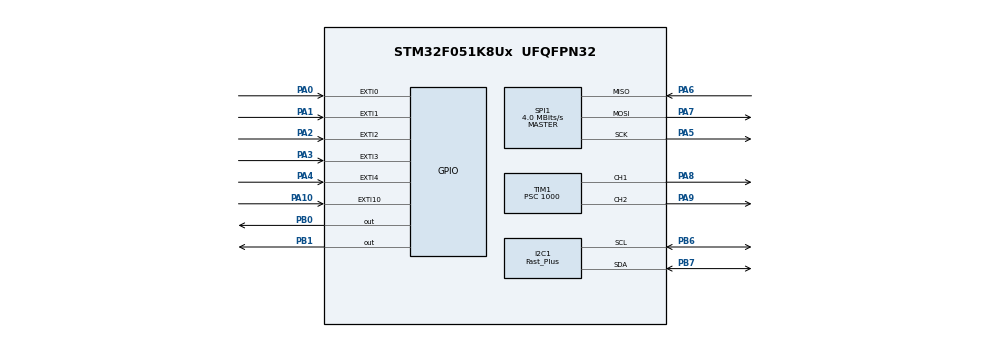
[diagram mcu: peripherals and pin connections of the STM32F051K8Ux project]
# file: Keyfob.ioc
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FREERTOS.HEAP_NUMBER=1
FREERTOS.INCLUDE_vTaskDelayUntil=1
FREERTOS.Tasks01=RADIO,0,256,Radio_Task,As weak,NULL,Dynamic,NULL,NULL;UI,0,256,UI_Task,As weak,NULL,Dynamic,NULL,NULL
FREERTOS.configCHECK_FOR_STACK_OVERFLOW=0
FREERTOS.configENABLE_BACKWARD_COMPATIBILITY=0
FREERTOS.configGENERATE_RUN_TIME_STATS=0
FREERTOS.configIDLE_SHOULD_YIELD=0
FREERTOS.configMAX_PRIORITIES=4
FREERTOS.configTOTAL_HEAP_SIZE=5500
FREERTOS.configUSE_IDLE_HOOK=1
FREERTOS.configUSE_MALLOC_FAILED_HOOK=0
FREERTOS.configUSE_MUTEXES=0
FREERTOS.configUSE_STATS_FORMATTING_FUNCTIONS=1
FREERTOS.configUSE_TRACE_FACILITY=1
I2C1.I2C_Speed_Mode=I2C_Fast_Plus
I2C1.OwnAddress=0x3c
I2C1.Speed=800
I2C1.Timing=0x00000102
IWDG.Prescaler=IWDG_PRESCALER_16
IWDG.Window=2500
Mcu.Family=STM32F0
Mcu.Name=STM32F051K8Ux
Mcu.Package=UFQFPN32
NVIC.EXTI0_1_IRQn=true\:3\:0\:false\:true\:true\:3\:true\:true
NVIC.EXTI2_3_IRQn=true\:3\:0\:false\:true\:true\:4\:true\:true
NVIC.EXTI4_15_IRQn=true\:3\:0\:true\:true\:true\:1\:true\:true
NVIC.SPI1_IRQn=true\:3\:0\:false\:true\:false\:2\:true\:true
NVIC.TIM14_IRQn=true\:0\:0\:false\:false\:true\:false\:false
NVIC.TimeBase=TIM14_IRQn
NVIC.TimeBaseIP=TIM14
PA0.GPIO_ModeDefaultEXTI=GPIO_MODE_IT_FALLING
PA0.GPIO_PuPd=GPIO_PULLUP
PA0.Signal=GPXTI0
PA1.GPIO_ModeDefaultEXTI=GPIO_MODE_IT_FALLING
PA1.GPIO_PuPd=GPIO_PULLUP
PA1.Signal=GPXTI1
PA10.GPIO_ModeDefaultEXTI=GPIO_MODE_IT_FALLING
PA10.GPIO_PuPd=GPIO_PULLUP
PA10.Signal=GPXTI10
PA13.Mode=Serial_Wire
PA13.Signal=SYS_SWDIO
PA14.Mode=Serial_Wire
PA14.Signal=SYS_SWCLK
PA2.GPIO_ModeDefaultEXTI=GPIO_MODE_IT_FALLING
PA2.GPIO_PuPd=GPIO_PULLUP
PA2.Signal=GPXTI2
PA3.GPIO_ModeDefaultEXTI=GPIO_MODE_IT_FALLING
PA3.GPIO_PuPd=GPIO_PULLUP
PA3.Signal=GPXTI3
PA4.GPIO_ModeDefaultEXTI=GPIO_MODE_IT_FALLING
PA4.Signal=GPXTI4
PA5.Mode=Full_Duplex_Master
PA5.Signal=SPI1_SCK
PA6.Mode=Full_Duplex_Master
PA6.Signal=SPI1_MISO
PA7.Mode=Full_Duplex_Master
PA7.Signal=SPI1_MOSI
PA8.Signal=S_TIM1_CH1
PA9.Signal=S_TIM1_CH2
PB0.Signal=GPIO_Output
PB1.GPIO_ModeDefaultOutputPP=GPIO_MODE_OUTPUT_PP
PB1.GPIO_PuPd=GPIO_NOPULL
PB1.GPIO_Speed=GPIO_SPEED_FREQ_LOW
PB1.PinState=GPIO_PIN_RESET
PB1.Signal=GPIO_Output
PB6.GPIO_Speed=GPIO_SPEED_FREQ_LOW
PB6.Mode=I2C
PB6.Signal=I2C1_SCL
PB7.GPIO_Speed=GPIO_SPEED_FREQ_LOW
PB7.Mode=I2C
PB7.Signal=I2C1_SDA
ProjectManager.HeapSize=0x200
ProjectManager.StackSize=0x400
ProjectManager.TargetToolchain=EWARM
RCC.AHBFreq_Value=8000000
RCC.APB1Freq_Value=8000000
RCC.APB1TimFreq_Value=8000000
RCC.HCLKFreq_Value=8000000
RCC.I2c1ClockSelection=RCC_I2C1CLKSOURCE_SYSCLK
RCC.SYSCLKFreq_VALUE=8000000
RTC.Alarm=RTC_ALARM_A
SH.S_TIM1_CH1.0=TIM1_CH1,Output Compare1 CH1
SH.S_TIM1_CH2.0=TIM1_CH2,Output Compare2 CH2
SPI1.BaudRatePrescaler=SPI_BAUDRATEPRESCALER_2
SPI1.CLKPolarity=SPI_POLARITY_LOW
SPI1.CalculateBaudRate=4.0 MBits/s
SPI1.DataSize=SPI_DATASIZE_8BIT
SPI1.Direction=SPI_DIRECTION_2LINES
SPI1.Mode=SPI_MODE_MASTER
SPI1.NSSPMode=SPI_NSS_PULSE_DISABLE
SPI1.VirtualType=VM_MASTER
TIM1.Channel-Output\ Compare1\ CH1=TIM_CHANNEL_1
TIM1.Channel-Output\ Compare2\ CH2=TIM_CHANNEL_2
TIM1.OCIdleState_2=TIM_OCIDLESTATE_SET
TIM1.OCMode_1=TIM_OCMODE_ACTIVE
TIM1.OCMode_2=TIM_OCMODE_ACTIVE
TIM1.OCPolarity_2=TIM_OCPOLARITY_LOW
TIM1.Prescaler=1000
TIM1.Pulse-Output\ Compare1\ CH1=24
TIM1.Pulse-Output\ Compare2\ CH2=24
TIM1.RepetitionCounter=48
VP_ADC_Vbat_Input.Mode=IN-Vbat
VP_FREERTOS_VS_ENABLE.Mode=Enabled
VP_IWDG_VS_IWDG.Mode=IWDG_Activate
VP_RTC_VS_RTC_Activate.Mode=RTC_Enabled
VP_RTC_VS_RTC_Alarm_A_Intern.Mode=Alarm A
VP_RTC_VS_RTC_Calendar.Mode=RTC_Calendar
VP_SYS_VS_tim14.Mode=TIM14
VP_TIM1_VS_ClockSourceINT.Mode=Internal
board=Keyfob

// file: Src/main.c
/**
  ******************************************************************************
  * File Name          : main.c
  * Description        : Main program body
  ******************************************************************************
  * This notice applies to any and all portions of this file
  * that are not between comment pairs USER CODE BEGIN and
  * USER CODE END. Other portions of this file, whether
  * inserted by the user or by software development tools
  * are owned by their respective copyright owners.
  *
  * Copyright (c) 2017 STMicroelectronics International N.V.
  * All rights reserved.
  *
  * Redistribution and use in source and binary forms, with or without
  * modification, are permitted, provided that the following conditions are met:
  *
  * 1. Redistribution of source code must retain the above copyright notice,
  *    this list of conditions and the following disclaimer.
  * 2. Redistributions in binary form must reproduce the above copyright notice,
  *    this list of conditions and the following disclaimer in the documentation
  *    and/or other materials provided with the distribution.
  * 3. Neither the name of STMicroelectronics nor the names of other
  *    contributors to this software may be used to endorse or promote products
  *    derived from this software without specific written permission.
  * 4. This software, including modifications and/or derivative works of this
  *    software, must execute solely and exclusively on microcontroller or
  *    microprocessor devices manufactured by or for STMicroelectronics.
  * 5. Redistribution and use of this software other than as permitted under
  *    this license is void and will automatically terminate your rights under
  *    this license.
  *
  * THIS SOFTWARE IS PROVIDED BY STMICROELECTRONICS AND CONTRIBUTORS "AS IS"
  * AND ANY EXPRESS, IMPLIED OR STATUTORY WARRANTIES, INCLUDING, BUT NOT
  * LIMITED TO, THE IMPLIED WARRANTIES OF MERCHANTABILITY, FITNESS FOR A
  * PARTICULAR PURPOSE AND NON-INFRINGEMENT OF THIRD PARTY INTELLECTUAL PROPERTY
  * RIGHTS ARE DISCLAIMED TO THE FULLEST EXTENT PERMITTED BY LAW. IN NO EVENT
  * SHALL STMICROELECTRONICS OR CONTRIBUTORS BE LIABLE FOR ANY DIRECT, INDIRECT,
  * INCIDENTAL, SPECIAL, EXEMPLARY, OR CONSEQUENTIAL DAMAGES (INCLUDING, BUT NOT
  * LIMITED TO, PROCUREMENT OF SUBSTITUTE GOODS OR SERVICES; LOSS OF USE, DATA,
  * OR PROFITS; OR BUSINESS INTERRUPTION) HOWEVER CAUSED AND ON ANY THEORY OF
  * LIABILITY, WHETHER IN CONTRACT, STRICT LIABILITY, OR TORT (INCLUDING
  * NEGLIGENCE OR OTHERWISE) ARISING IN ANY WAY OUT OF THE USE OF THIS SOFTWARE,
  * EVEN IF ADVISED OF THE POSSIBILITY OF SUCH DAMAGE.
  *
  ******************************************************************************
  */

#include "main.h"
#include "stm32f0xx_hal.h"
#include "cmsis_os.h"

/* USER CODE BEGIN Includes */
#include "power.h"
#include "sound.h"
#include "protocol.h"
#include "radio.h"
#include "ui.h"
#include "dispatcher.h"

/* USER CODE END Includes */

osThreadId RADIOHandle;
osThreadId UIHandle;
osThreadId DISPHandle;
osThreadId SOUNDHandle;

/* USER CODE BEGIN PV */
/* Private variables ---------------------------------------------------------*/

/* USER CODE END PV */

void SystemClock_Config(void);
static void MX_GPIO_Init(void);
static void MX_I2C1_Init(void);
static void MX_SPI1_Init(void);
static void MX_TIM1_Init(void);
static void MX_ADC_Init(void);
static void MX_RTC_Init(void);
void Radio_Task(void const * argument);
void UI_Task(void const * argument);
static void MX_NVIC_Init(void);

/* USER CODE BEGIN PFP */
/* Private function prototypes -----------------------------------------------*/

/* USER CODE END PFP */

int main(void)
{

    /* USER CODE BEGIN 1 */
    /* Set up low power mode used. */
    MX_GPIO_Init();
    Power_Init();
    /* USER CODE END 1 */

    /* MCU Configuration----------------------------------------------------------*/

    /* Reset of all peripherals, Initializes the Flash interface and the Systick. */
    HAL_Init();

    /* Configure the system clock */
    SystemClock_Config();

    /* USER CODE BEGIN SysInit */

    PWR->CR |= PWR_CR_DBP;
    RCC->CSR |= RCC_CSR_LSION;

    /* USER CODE END SysInit */

    /* Initialize all configured peripherals */
//    MX_GPIO_Init();
    MX_I2C1_Init();
    MX_SPI1_Init();
    MX_TIM1_Init();
    MX_ADC_Init();
    MX_RTC_Init();

    /* Initialize interrupts */
    MX_NVIC_Init();

    /* USER CODE BEGIN 2 */
    Power_InitSettings(0, 0);
    Radio_Init();
    Sound_Init();
    Power_InitIWDG();
    /* USER CODE END 2 */

    /* Create the thread(s) */
    /* definition and creation of RADIO */
    osThreadDef(RADIO, Radio_Task, osPriorityRealtime, 0, 256);
    RADIOHandle = osThreadCreate(osThread(RADIO), NULL);

    /* definition and creation of UI */
    osThreadDef(UI, UI_Task, osPriorityBelowNormal, 0, 256);
    UIHandle = osThreadCreate(osThread(UI), NULL);

    /* definition and creation of DISPATCHER */
    osThreadDef(DISP, Dispatcher_Task, osPriorityLow, 0, 256);
    DISPHandle = osThreadCreate(osThread(DISP), NULL);

    /* definition and creation of SOUND */
    osThreadDef(SOUND, Sound_Task, osPriorityNormal, 0, 128);
    SOUNDHandle = osThreadCreate(osThread(SOUND), NULL);

    /* USER CODE BEGIN RTOS_QUEUES */
    UI_Init();
    /* USER CODE END RTOS_QUEUES */

    /* Start scheduler */
    osKernelStart();

    /* We should never get here as control is now taken by the scheduler */

    /* Infinite loop */
    while (1)
    {

    /* USER CODE BEGIN 3 */
        vTaskDelay(1);
    }
    /* USER CODE END 3 */

}

/** System Clock Configuration
*/
void SystemClock_Config(void)
{

  LL_FLASH_SetLatency(LL_FLASH_LATENCY_0);

  if(LL_FLASH_GetLatency() != LL_FLASH_LATENCY_0)
  {
  Error_Handler();
  }
  LL_RCC_HSI_Enable();

   /* Wait till HSI is ready */
  while(LL_RCC_HSI_IsReady() != 1)
  {

  }
  LL_RCC_HSI_SetCalibTrimming(16);

  LL_RCC_HSI14_Enable();

   /* Wait till HSI14 is ready */
  while(LL_RCC_HSI14_IsReady() != 1)
  {

  }
  LL_RCC_HSI14_SetCalibTrimming(16);

  LL_RCC_LSI_Enable();

   /* Wait till LSI is ready */
  while(LL_RCC_LSI_IsReady() != 1)
  {

  }
  LL_PWR_EnableBkUpAccess();

  //LL_RCC_ForceBackupDomainReset();

  //LL_RCC_ReleaseBackupDomainReset();

  LL_RCC_SetRTCClockSource(LL_RCC_RTC_CLKSOURCE_LSI);

  LL_RCC_EnableRTC();

  LL_RCC_SetAHBPrescaler(LL_RCC_SYSCLK_DIV_1);

  LL_RCC_SetAPB1Prescaler(LL_RCC_APB1_DIV_1);

  LL_RCC_SetSysClkSource(LL_RCC_SYS_CLKSOURCE_HSI);

   /* Wait till System clock is ready */
  while(LL_RCC_GetSysClkSource() != LL_RCC_SYS_CLKSOURCE_STATUS_HSI)
  {

  }
  LL_Init1msTick(8000000);

  LL_SYSTICK_SetClkSource(LL_SYSTICK_CLKSOURCE_HCLK);

  LL_SetSystemCoreClock(8000000);

  LL_RCC_HSI14_EnableADCControl();

  LL_RCC_SetI2CClockSource(LL_RCC_I2C1_CLKSOURCE_SYSCLK);

  /* SysTick_IRQn interrupt configuration */
  NVIC_SetPriority(SysTick_IRQn, 3);
}

/** NVIC Configuration
*/
static void MX_NVIC_Init(void)
{
  /* SPI1_IRQn interrupt configuration */
  NVIC_SetPriority(SPI1_IRQn, 3);
  NVIC_EnableIRQ(SPI1_IRQn);
  /* EXTI4_15_IRQn interrupt configuration */
  NVIC_SetPriority(EXTI4_15_IRQn, 3);
  NVIC_EnableIRQ(EXTI4_15_IRQn);
  /* EXTI0_1_IRQn interrupt configuration */
  NVIC_SetPriority(EXTI0_1_IRQn, 3);
  NVIC_EnableIRQ(EXTI0_1_IRQn);
  /* EXTI2_3_IRQn interrupt configuration */
  NVIC_SetPriority(EXTI2_3_IRQn, 3);
  NVIC_EnableIRQ(EXTI2_3_IRQn);
}

/* ADC init function */
static void MX_ADC_Init(void)
{

  LL_ADC_InitTypeDef ADC_InitStruct;
  LL_ADC_REG_InitTypeDef ADC_REG_InitStruct;

  /* Peripheral clock enable */
  LL_APB1_GRP2_EnableClock(LL_APB1_GRP2_PERIPH_ADC1);

    /**Configure Regular Channel
    */
  LL_ADC_REG_SetSequencerChannels(ADC1, LL_ADC_CHANNEL_VBAT);

  LL_ADC_SetCommonPathInternalCh(__LL_ADC_COMMON_INSTANCE(ADC1), LL_ADC_PATH_INTERNAL_VBAT);

    /**Configure the global features of the ADC (Clock, Resolution, Data Alignment and number of conversion)
    */
  ADC_InitStruct.Resolution = LL_ADC_RESOLUTION_12B;
  ADC_InitStruct.DataAlignment = LL_ADC_DATA_ALIGN_RIGHT;
  ADC_InitStruct.LowPowerMode = LL_ADC_LP_MODE_NONE;
  LL_ADC_Init(ADC1, &ADC_InitStruct);

  LL_ADC_SetClock(ADC1, LL_ADC_CLOCK_ASYNC);

  ADC_REG_InitStruct.TriggerSource = LL_ADC_REG_TRIG_SOFTWARE;
  ADC_REG_InitStruct.SequencerDiscont = LL_ADC_REG_SEQ_DISCONT_DISABLE;
  ADC_REG_InitStruct.ContinuousMode = LL_ADC_REG_CONV_SINGLE;
  ADC_REG_InitStruct.DMATransfer = LL_ADC_REG_DMA_TRANSFER_LIMITED;
  ADC_REG_InitStruct.Overrun = LL_ADC_REG_OVR_DATA_PRESERVED;
  LL_ADC_REG_Init(ADC1, &ADC_REG_InitStruct);

  LL_ADC_REG_SetSequencerScanDirection(ADC1, LL_ADC_REG_SEQ_SCAN_DIR_FORWARD);

  LL_ADC_SetSamplingTimeCommonChannels(ADC1, LL_ADC_SAMPLINGTIME_1CYCLE_5);

  LL_ADC_EnableIT_EOC(ADC1);

  LL_ADC_DisableIT_EOS(ADC1);

}

/* I2C1 init function */
static void MX_I2C1_Init(void)
{

  LL_I2C_InitTypeDef I2C_InitStruct;

  LL_GPIO_InitTypeDef GPIO_InitStruct;

  /**I2C1 GPIO Configuration
  PB6   ------> I2C1_SCL
  PB7   ------> I2C1_SDA
  */
  GPIO_InitStruct.Pin = LL_GPIO_PIN_6;
  GPIO_InitStruct.Mode = LL_GPIO_MODE_ALTERNATE;
  GPIO_InitStruct.Speed = LL_GPIO_SPEED_FREQ_LOW;
  GPIO_InitStruct.OutputType = LL_GPIO_OUTPUT_OPENDRAIN;
  GPIO_InitStruct.Pull = LL_GPIO_PULL_UP;
  GPIO_InitStruct.Alternate = LL_GPIO_AF_1;
  LL_GPIO_Init(GPIOB, &GPIO_InitStruct);

  GPIO_InitStruct.Pin = LL_GPIO_PIN_7;
  GPIO_InitStruct.Mode = LL_GPIO_MODE_ALTERNATE;
  GPIO_InitStruct.Speed = LL_GPIO_SPEED_FREQ_LOW;
  GPIO_InitStruct.OutputType = LL_GPIO_OUTPUT_OPENDRAIN;
  GPIO_InitStruct.Pull = LL_GPIO_PULL_UP;
  GPIO_InitStruct.Alternate = LL_GPIO_AF_1;
  LL_GPIO_Init(GPIOB, &GPIO_InitStruct);

  /* Peripheral clock enable */
  LL_APB1_GRP1_EnableClock(LL_APB1_GRP1_PERIPH_I2C1);

    /**I2C Initialization
    */
  I2C_InitStruct.PeripheralMode = LL_I2C_MODE_I2C;
  I2C_InitStruct.Timing = 0x00000102;
  I2C_InitStruct.AnalogFilter = LL_I2C_ANALOGFILTER_ENABLE;
  I2C_InitStruct.DigitalFilter = 0;
  I2C_InitStruct.OwnAddress1 = 120;
  I2C_InitStruct.TypeAcknowledge = LL_I2C_ACK;
  I2C_InitStruct.OwnAddrSize = LL_I2C_OWNADDRESS1_7BIT;
  LL_I2C_Init(I2C1, &I2C_InitStruct);

  LL_I2C_EnableAutoEndMode(I2C1);

  LL_I2C_SetOwnAddress2(I2C1, 0, LL_I2C_OWNADDRESS2_NOMASK);

  LL_I2C_DisableOwnAddress2(I2C1);

  LL_I2C_DisableGeneralCall(I2C1);

  LL_I2C_EnableClockStretching(I2C1);

}

/* RTC init function */
static void MX_RTC_Init(void)
{

  LL_RTC_InitTypeDef RTC_InitStruct;
  LL_RTC_TimeTypeDef RTC_TimeStruct;
  LL_RTC_DateTypeDef RTC_DateStruct;

  /* Peripheral clock enable */
  LL_RCC_EnableRTC();
  LL_RCC_SetRTCClockSource(LL_RCC_RTC_CLKSOURCE_LSI);

    /**Initialize RTC and set the Time and Date
    */
  RTC_InitStruct.HourFormat = LL_RTC_HOURFORMAT_24HOUR;
  RTC_InitStruct.AsynchPrescaler = 127;
  RTC_InitStruct.SynchPrescaler = 255;
  LL_RTC_Init(RTC, &RTC_InitStruct);

  LL_RTC_SetAsynchPrescaler(RTC, 127);

  LL_RTC_SetSynchPrescaler(RTC, 255);

    /**Initialize RTC and set the Time and Date
    */

  if(LL_RTC_BAK_GetRegister(RTC, LL_RTC_BKP_DR0) != 0x32F2){
//  if(Power_IfPOR()){

  RTC_TimeStruct.Hours = 0;
  RTC_TimeStruct.Minutes = 0x12;
  RTC_TimeStruct.Seconds = 0x34;
  LL_RTC_TIME_Init(RTC, LL_RTC_FORMAT_BCD, &RTC_TimeStruct);

  RTC_DateStruct.WeekDay = LL_RTC_WEEKDAY_MONDAY;
  RTC_DateStruct.Month = LL_RTC_MONTH_JANUARY;
  RTC_DateStruct.Year = 0;
  LL_RTC_DATE_Init(RTC, LL_RTC_FORMAT_BCD, &RTC_DateStruct);

  LL_RTC_BAK_SetRegister(RTC,LL_RTC_BKP_DR0,0x32F2);
  }
}

/* SPI1 init function */
static void MX_SPI1_Init(void)
{

  LL_SPI_InitTypeDef SPI_InitStruct;

  LL_GPIO_InitTypeDef GPIO_InitStruct;

  /* Peripheral clock enable */
  LL_APB1_GRP2_EnableClock(LL_APB1_GRP2_PERIPH_SPI1);

  /**SPI1 GPIO Configuration
  PA5   ------> SPI1_SCK
  PA6   ------> SPI1_MISO
  PA7   ------> SPI1_MOSI
  */
  GPIO_InitStruct.Pin = LL_GPIO_PIN_5;
  GPIO_InitStruct.Mode = LL_GPIO_MODE_ALTERNATE;
  GPIO_InitStruct.Speed = LL_GPIO_SPEED_FREQ_HIGH;
  GPIO_InitStruct.OutputType = LL_GPIO_OUTPUT_PUSHPULL;
  GPIO_InitStruct.Pull = LL_GPIO_PULL_NO;
  GPIO_InitStruct.Alternate = LL_GPIO_AF_0;
  LL_GPIO_Init(GPIOA, &GPIO_InitStruct);

  GPIO_InitStruct.Pin = LL_GPIO_PIN_6;
  GPIO_InitStruct.Mode = LL_GPIO_MODE_ALTERNATE;
  GPIO_InitStruct.Speed = LL_GPIO_SPEED_FREQ_HIGH;
  GPIO_InitStruct.OutputType = LL_GPIO_OUTPUT_PUSHPULL;
  GPIO_InitStruct.Pull = LL_GPIO_PULL_NO;
  GPIO_InitStruct.Alternate = LL_GPIO_AF_0;
  LL_GPIO_Init(GPIOA, &GPIO_InitStruct);

  GPIO_InitStruct.Pin = LL_GPIO_PIN_7;
  GPIO_InitStruct.Mode = LL_GPIO_MODE_ALTERNATE;
  GPIO_InitStruct.Speed = LL_GPIO_SPEED_FREQ_HIGH;
  GPIO_InitStruct.OutputType = LL_GPIO_OUTPUT_PUSHPULL;
  GPIO_InitStruct.Pull = LL_GPIO_PULL_NO;
  GPIO_InitStruct.Alternate = LL_GPIO_AF_0;
  LL_GPIO_Init(GPIOA, &GPIO_InitStruct);

  /* SPI1 parameter configuration*/
  SPI_InitStruct.TransferDirection = LL_SPI_FULL_DUPLEX;
  SPI_InitStruct.Mode = LL_SPI_MODE_MASTER;
  SPI_InitStruct.DataWidth = LL_SPI_DATAWIDTH_8BIT;
  SPI_InitStruct.ClockPolarity = LL_SPI_POLARITY_LOW;
  SPI_InitStruct.ClockPhase = LL_SPI_PHASE_1EDGE;
  SPI_InitStruct.NSS = LL_SPI_NSS_SOFT;
  SPI_InitStruct.BaudRate = LL_SPI_BAUDRATEPRESCALER_DIV2;
  SPI_InitStruct.BitOrder = LL_SPI_MSB_FIRST;
  SPI_InitStruct.CRCCalculation = LL_SPI_CRCCALCULATION_DISABLE;
  SPI_InitStruct.CRCPoly = 7;
  LL_SPI_Init(SPI1, &SPI_InitStruct);

  LL_SPI_SetStandard(SPI1, LL_SPI_PROTOCOL_MOTOROLA);

  LL_SPI_DisableNSSPulseMgt(SPI1);

}

/* TIM1 init function */
static void MX_TIM1_Init(void)
{

  LL_TIM_InitTypeDef TIM_InitStruct;
  LL_TIM_OC_InitTypeDef TIM_OC_InitStruct;
  LL_TIM_BDTR_InitTypeDef TIM_BDTRInitStruct;

  LL_GPIO_InitTypeDef GPIO_InitStruct;

  /* Peripheral clock enable */
  LL_APB1_GRP2_EnableClock(LL_APB1_GRP2_PERIPH_TIM1);

  TIM_InitStruct.Prescaler = 1000;
  TIM_InitStruct.CounterMode = LL_TIM_COUNTERMODE_UP;
  TIM_InitStruct.Autoreload = 0;
  TIM_InitStruct.ClockDivision = LL_TIM_CLOCKDIVISION_DIV1;
  TIM_InitStruct.RepetitionCounter = 48;
  LL_TIM_Init(TIM1, &TIM_InitStruct);

  LL_TIM_DisableARRPreload(TIM1);

  LL_TIM_SetClockSource(TIM1, LL_TIM_CLOCKSOURCE_INTERNAL);

  TIM_OC_InitStruct.OCMode = LL_TIM_OCMODE_ACTIVE;
  TIM_OC_InitStruct.OCState = LL_TIM_OCSTATE_DISABLE;
  TIM_OC_InitStruct.OCNState = LL_TIM_OCSTATE_DISABLE;
  TIM_OC_InitStruct.CompareValue = 24;
  TIM_OC_InitStruct.OCPolarity = LL_TIM_OCPOLARITY_HIGH;
  TIM_OC_InitStruct.OCNPolarity = LL_TIM_OCPOLARITY_HIGH;
  TIM_OC_InitStruct.OCIdleState = LL_TIM_OCIDLESTATE_LOW;
  TIM_OC_InitStruct.OCNIdleState = LL_TIM_OCIDLESTATE_LOW;
  LL_TIM_OC_Init(TIM1, LL_TIM_CHANNEL_CH1, &TIM_OC_InitStruct);

  LL_TIM_OC_DisableFast(TIM1, LL_TIM_CHANNEL_CH1);

  TIM_OC_InitStruct.OCState = LL_TIM_OCSTATE_DISABLE;
  TIM_OC_InitStruct.OCNState = LL_TIM_OCSTATE_DISABLE;
  TIM_OC_InitStruct.OCPolarity = LL_TIM_OCPOLARITY_LOW;
  TIM_OC_InitStruct.OCIdleState = LL_TIM_OCIDLESTATE_HIGH;
  LL_TIM_OC_Init(TIM1, LL_TIM_CHANNEL_CH2, &TIM_OC_InitStruct);

  LL_TIM_OC_DisableFast(TIM1, LL_TIM_CHANNEL_CH2);

  LL_TIM_SetTriggerOutput(TIM1, LL_TIM_TRGO_RESET);

  LL_TIM_DisableMasterSlaveMode(TIM1);

  TIM_BDTRInitStruct.OSSRState = LL_TIM_OSSR_DISABLE;
  TIM_BDTRInitStruct.OSSIState = LL_TIM_OSSI_DISABLE;
  TIM_BDTRInitStruct.LockLevel = LL_TIM_LOCKLEVEL_OFF;
  TIM_BDTRInitStruct.DeadTime = 0;
  TIM_BDTRInitStruct.BreakState = LL_TIM_BREAK_DISABLE;
  TIM_BDTRInitStruct.BreakPolarity = LL_TIM_BREAK_POLARITY_HIGH;
  TIM_BDTRInitStruct.AutomaticOutput = LL_TIM_AUTOMATICOUTPUT_DISABLE;
  LL_TIM_BDTR_Init(TIM1, &TIM_BDTRInitStruct);

  /**TIM1 GPIO Configuration
  PA8   ------> TIM1_CH1
  PA9   ------> TIM1_CH2
  */
  GPIO_InitStruct.Pin = LL_GPIO_PIN_8;
  GPIO_InitStruct.Mode = LL_GPIO_MODE_INPUT; //LL_GPIO_MODE_ALTERNATE;
  GPIO_InitStruct.Speed = LL_GPIO_SPEED_FREQ_LOW;
  GPIO_InitStruct.OutputType = LL_GPIO_OUTPUT_PUSHPULL;
  GPIO_InitStruct.Pull = LL_GPIO_PULL_NO;
  GPIO_InitStruct.Alternate = LL_GPIO_AF_2;
  LL_GPIO_Init(GPIOA, &GPIO_InitStruct);

  GPIO_InitStruct.Pin = LL_GPIO_PIN_9;
  GPIO_InitStruct.Mode = LL_GPIO_MODE_INPUT; //LL_GPIO_MODE_ALTERNATE;
  GPIO_InitStruct.Speed = LL_GPIO_SPEED_FREQ_LOW;
  GPIO_InitStruct.OutputType = LL_GPIO_OUTPUT_PUSHPULL;
  GPIO_InitStruct.Pull = LL_GPIO_PULL_NO;
  GPIO_InitStruct.Alternate = LL_GPIO_AF_2;
  LL_GPIO_Init(GPIOA, &GPIO_InitStruct);

}

/** Configure pins as
        * Analog
        * Input
        * Output
        * EVENT_OUT
        * EXTI
*/
static void MX_GPIO_Init(void)
{

  LL_GPIO_InitTypeDef GPIO_InitStruct;
  LL_EXTI_InitTypeDef EXTI_InitStruct;

  /* GPIO Ports Clock Enable */
  LL_AHB1_GRP1_EnableClock(LL_AHB1_GRP1_PERIPH_GPIOA);
  LL_AHB1_GRP1_EnableClock(LL_AHB1_GRP1_PERIPH_GPIOB);
  LL_AHB1_GRP1_EnableClock(LL_AHB1_GRP1_PERIPH_GPIOF);
  GPIOF->MODER = 0x55555555;

  /**/
  GPIO_InitStruct.Pin = LL_GPIO_PIN_0;
  GPIO_InitStruct.Mode = LL_GPIO_MODE_OUTPUT;
  GPIO_InitStruct.Speed = LL_GPIO_SPEED_FREQ_LOW;
  GPIO_InitStruct.OutputType = LL_GPIO_OUTPUT_PUSHPULL;
  GPIO_InitStruct.Pull = LL_GPIO_PULL_NO;
  LL_GPIO_Init(GPIOB, &GPIO_InitStruct);

  /**/
  GPIO_InitStruct.Pin = LL_GPIO_PIN_1;
  GPIO_InitStruct.Mode = LL_GPIO_MODE_OUTPUT;
  GPIO_InitStruct.Speed = LL_GPIO_SPEED_FREQ_LOW;
  GPIO_InitStruct.OutputType = LL_GPIO_OUTPUT_PUSHPULL;
  GPIO_InitStruct.Pull = LL_GPIO_PULL_NO;
  LL_GPIO_Init(GPIOB, &GPIO_InitStruct);

  /**/
  LL_GPIO_SetOutputPin(GPIOB, LL_GPIO_PIN_0);

  /**/
  LL_GPIO_ResetOutputPin(GPIOB, LL_GPIO_PIN_1);

  /**/
  LL_SYSCFG_SetEXTISource(LL_SYSCFG_EXTI_PORTA, LL_SYSCFG_EXTI_LINE0);

  /**/
  LL_SYSCFG_SetEXTISource(LL_SYSCFG_EXTI_PORTA, LL_SYSCFG_EXTI_LINE1);

  /**/
  LL_SYSCFG_SetEXTISource(LL_SYSCFG_EXTI_PORTA, LL_SYSCFG_EXTI_LINE2);

  /**/
  LL_SYSCFG_SetEXTISource(LL_SYSCFG_EXTI_PORTA, LL_SYSCFG_EXTI_LINE3);

  /**/
  LL_SYSCFG_SetEXTISource(LL_SYSCFG_EXTI_PORTA, LL_SYSCFG_EXTI_LINE4);

  /**/
  LL_SYSCFG_SetEXTISource(LL_SYSCFG_EXTI_PORTA, LL_SYSCFG_EXTI_LINE10);

  /**/
  LL_GPIO_SetPinPull(GPIOA, LL_GPIO_PIN_0, LL_GPIO_PULL_UP);

  /**/
  LL_GPIO_SetPinPull(GPIOA, LL_GPIO_PIN_1, LL_GPIO_PULL_UP);

  /**/
  LL_GPIO_SetPinPull(GPIOA, LL_GPIO_PIN_2, LL_GPIO_PULL_UP);

  /**/
  LL_GPIO_SetPinPull(GPIOA, LL_GPIO_PIN_3, LL_GPIO_PULL_UP);

  /**/
  LL_GPIO_SetPinPull(GPIOA, LL_GPIO_PIN_4, LL_GPIO_PULL_NO);

  /**/
  LL_GPIO_SetPinPull(GPIOA, LL_GPIO_PIN_10, LL_GPIO_PULL_UP);

  /**/
  LL_GPIO_SetPinMode(GPIOA, LL_GPIO_PIN_0, LL_GPIO_MODE_INPUT);

  /**/
  LL_GPIO_SetPinMode(GPIOA, LL_GPIO_PIN_1, LL_GPIO_MODE_INPUT);

  /**/
  LL_GPIO_SetPinMode(GPIOA, LL_GPIO_PIN_2, LL_GPIO_MODE_INPUT);

  /**/
  LL_GPIO_SetPinMode(GPIOA, LL_GPIO_PIN_3, LL_GPIO_MODE_INPUT);

  /**/
  LL_GPIO_SetPinMode(GPIOA, LL_GPIO_PIN_4, LL_GPIO_MODE_INPUT);

  /**/
  LL_GPIO_SetPinMode(GPIOA, LL_GPIO_PIN_10, LL_GPIO_MODE_INPUT);

  /**/
  EXTI_InitStruct.Line_0_31 = LL_EXTI_LINE_0;
  EXTI_InitStruct.LineCommand = ENABLE;
  EXTI_InitStruct.Mode = LL_EXTI_MODE_IT;
  EXTI_InitStruct.Trigger = LL_EXTI_TRIGGER_FALLING;
  LL_EXTI_Init(&EXTI_InitStruct);

  /**/
  EXTI_InitStruct.Line_0_31 = LL_EXTI_LINE_1;
  EXTI_InitStruct.LineCommand = ENABLE;
  EXTI_InitStruct.Mode = LL_EXTI_MODE_IT;
  EXTI_InitStruct.Trigger = LL_EXTI_TRIGGER_FALLING;
  LL_EXTI_Init(&EXTI_InitStruct);

  /**/
  EXTI_InitStruct.Line_0_31 = LL_EXTI_LINE_2;
  EXTI_InitStruct.LineCommand = ENABLE;
  EXTI_InitStruct.Mode = LL_EXTI_MODE_IT;
  EXTI_InitStruct.Trigger = LL_EXTI_TRIGGER_FALLING;
  LL_EXTI_Init(&EXTI_InitStruct);

  /**/
  EXTI_InitStruct.Line_0_31 = LL_EXTI_LINE_3;
  EXTI_InitStruct.LineCommand = ENABLE;
  EXTI_InitStruct.Mode = LL_EXTI_MODE_IT;
  EXTI_InitStruct.Trigger = LL_EXTI_TRIGGER_FALLING;
  LL_EXTI_Init(&EXTI_InitStruct);

  /**/
  EXTI_InitStruct.Line_0_31 = LL_EXTI_LINE_4;
  EXTI_InitStruct.LineCommand = ENABLE;
  EXTI_InitStruct.Mode = LL_EXTI_MODE_IT;
  EXTI_InitStruct.Trigger = LL_EXTI_TRIGGER_FALLING;
  LL_EXTI_Init(&EXTI_InitStruct);

  /**/
  EXTI_InitStruct.Line_0_31 = LL_EXTI_LINE_10;
  EXTI_InitStruct.LineCommand = ENABLE;
  EXTI_InitStruct.Mode = LL_EXTI_MODE_IT;
  EXTI_InitStruct.Trigger = LL_EXTI_TRIGGER_FALLING;
  LL_EXTI_Init(&EXTI_InitStruct);

  /**/
  GPIO_InitStruct.Pin = LL_GPIO_PIN_0 | LL_GPIO_PIN_1;
  GPIO_InitStruct.Mode = LL_GPIO_MODE_OUTPUT;
  GPIO_InitStruct.Speed = LL_GPIO_SPEED_FREQ_LOW;
  GPIO_InitStruct.OutputType = LL_GPIO_OUTPUT_PUSHPULL;
  GPIO_InitStruct.Pull = LL_GPIO_PULL_NO;
  LL_GPIO_Init(GPIOF, &GPIO_InitStruct);
}

/* Radio_Task function */
__weak void Radio_Task(void const * argument)
{

  for(;;)
  {
      osDelay(1);
  }
}

/* UI_Task function */
__weak void UI_Task(void const * argument)
{
  for(;;)
  {
    osDelay(1);
  }
}

void HAL_TIM_PeriodElapsedCallback(TIM_HandleTypeDef *htim)
{
  if (htim->Instance == TIM14) {
    HAL_IncTick();
  }
}

void _Error_Handler(char * file, int line)
{
  while(1)
  {
  }
}

/************************ (C) COPYRIGHT STMicroelectronics *****END OF FILE****/

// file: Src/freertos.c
/**
  ******************************************************************************
  * File Name          : freertos.c
  * Description        : Code for freertos applications
  ******************************************************************************
  * This notice applies to any and all portions of this file
  * that are not between comment pairs USER CODE BEGIN and
  * USER CODE END. Other portions of this file, whether
  * inserted by the user or by software development tools
  * are owned by their respective copyright owners.
  *
  * Copyright (c) 2017 STMicroelectronics International N.V.
  * All rights reserved.
  *
  * Redistribution and use in source and binary forms, with or without
  * modification, are permitted, provided that the following conditions are met:
  *
  * 1. Redistribution of source code must retain the above copyright notice,
  *    this list of conditions and the following disclaimer.
  * 2. Redistributions in binary form must reproduce the above copyright notice,
  *    this list of conditions and the following disclaimer in the documentation
  *    and/or other materials provided with the distribution.
  * 3. Neither the name of STMicroelectronics nor the names of other
  *    contributors to this software may be used to endorse or promote products
  *    derived from this software without specific written permission.
  * 4. This software, including modifications and/or derivative works of this
  *    software, must execute solely and exclusively on microcontroller or
  *    microprocessor devices manufactured by or for STMicroelectronics.
  * 5. Redistribution and use of this software other than as permitted under
  *    this license is void and will automatically terminate your rights under
  *    this license.
  *
  * THIS SOFTWARE IS PROVIDED BY STMICROELECTRONICS AND CONTRIBUTORS "AS IS"
  * AND ANY EXPRESS, IMPLIED OR STATUTORY WARRANTIES, INCLUDING, BUT NOT
  * LIMITED TO, THE IMPLIED WARRANTIES OF MERCHANTABILITY, FITNESS FOR A
  * PARTICULAR PURPOSE AND NON-INFRINGEMENT OF THIRD PARTY INTELLECTUAL PROPERTY
  * RIGHTS ARE DISCLAIMED TO THE FULLEST EXTENT PERMITTED BY LAW. IN NO EVENT
  * SHALL STMICROELECTRONICS OR CONTRIBUTORS BE LIABLE FOR ANY DIRECT, INDIRECT,
  * INCIDENTAL, SPECIAL, EXEMPLARY, OR CONSEQUENTIAL DAMAGES (INCLUDING, BUT NOT
  * LIMITED TO, PROCUREMENT OF SUBSTITUTE GOODS OR SERVICES; LOSS OF USE, DATA,
  * OR PROFITS; OR BUSINESS INTERRUPTION) HOWEVER CAUSED AND ON ANY THEORY OF
  * LIABILITY, WHETHER IN CONTRACT, STRICT LIABILITY, OR TORT (INCLUDING
  * NEGLIGENCE OR OTHERWISE) ARISING IN ANY WAY OUT OF THE USE OF THIS SOFTWARE,
  * EVEN IF ADVISED OF THE POSSIBILITY OF SUCH DAMAGE.
  *
  ******************************************************************************
  */

#include "FreeRTOS.h"
#include "task.h"

/* USER CODE BEGIN Includes */
#include "power.h"

#if defined (__GNUC__)
#include "iar_to_gcc.h"
#endif

/* USER CODE END Includes */

/* Hook prototypes */
void vApplicationIdleHook(void);

/* USER CODE BEGIN 2 */
__weak void vApplicationIdleHook( void )
{
    Power_OnIdle();
   /* vApplicationIdleHook() will only be called if configUSE_IDLE_HOOK is set
   to 1 in FreeRTOSConfig.h. It will be called on each iteration of the idle
   task. It is essential that code added to this hook function never attempts
   to block in any way (for example, call xQueueReceive() with a block time
   specified, or call vTaskDelay()). If the application makes use of the
   vTaskDelete() API function (as this demo application does) then it is also
   important that vApplicationIdleHook() is permitted to return to its calling
   function, because it is the responsibility of the idle task to clean up
   memory allocated by the kernel to any task that has since been deleted. */
}
/* USER CODE END 2 */

/************************ (C) COPYRIGHT STMicroelectronics *****END OF FILE****/
